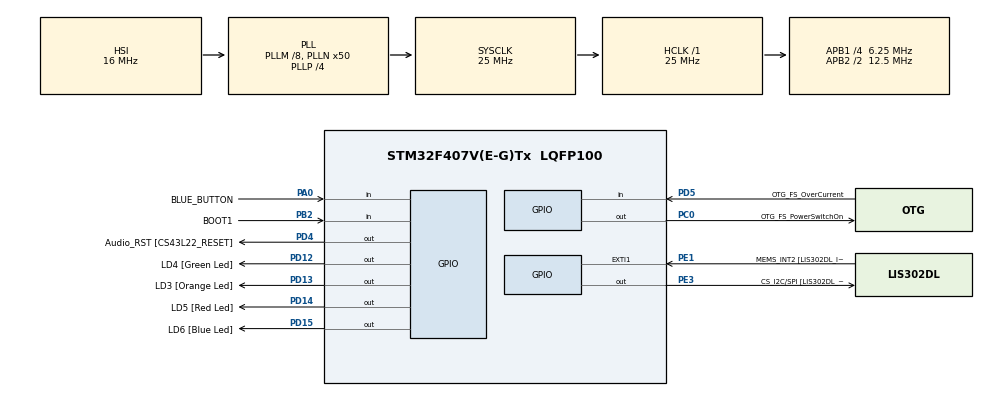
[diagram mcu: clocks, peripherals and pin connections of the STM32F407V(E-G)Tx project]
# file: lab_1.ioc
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Mcu.Family=STM32F4
Mcu.Name=STM32F407V(E-G)Tx
Mcu.Package=LQFP100
NVIC.PriorityGroup=NVIC_PRIORITYGROUP_4
NVIC.TIM7_IRQn=true\:0\:0\:false\:false\:true\:false\:true\:true
NVIC.TimeBase=TIM7_IRQn
NVIC.TimeBaseIP=TIM7
PA0-WKUP.GPIO_Label=BLUE_BUTTON
PA0-WKUP.Signal=GPIO_Input
PA10.GPIO_Label=OTG_FS_ID
PA10.GPIO_Mode=GPIO_MODE_AF_PP
PA10.GPIO_PuPd=GPIO_NOPULL
PA10.GPIO_Speed=GPIO_SPEED_FREQ_LOW
PA10.Signal=USB_OTG_FS_ID
PA11.GPIO_Label=OTG_FS_DM
PA11.GPIO_Mode=GPIO_MODE_AF_PP
PA11.GPIO_PuPd=GPIO_NOPULL
PA11.GPIO_Speed=GPIO_SPEED_FREQ_LOW
PA11.Signal=USB_OTG_FS_DM
PA12.GPIO_Label=OTG_FS_DP
PA12.GPIO_Mode=GPIO_MODE_AF_PP
PA12.GPIO_PuPd=GPIO_NOPULL
PA12.GPIO_Speed=GPIO_SPEED_FREQ_LOW
PA12.Signal=USB_OTG_FS_DP
PA13.GPIO_Label=SWDIO
PA13.Mode=Serial_Wire
PA13.Signal=SYS_JTMS-SWDIO
PA14.GPIO_Label=SWCLK
PA14.Mode=Serial_Wire
PA14.Signal=SYS_JTCK-SWCLK
PA4.GPIO_Label=I2S3_WS [CS43L22_LRCK]
PA4.GPIO_Mode=GPIO_MODE_AF_PP
PA4.GPIO_PuPd=GPIO_NOPULL
PA4.GPIO_Speed=GPIO_SPEED_FREQ_LOW
PA4.Signal=I2S3_WS
PA5.GPIO_Label=SPI1_SCK [LIS302DL_SCL/SPC]
PA5.GPIO_Mode=GPIO_MODE_AF_PP
PA5.GPIO_PuPd=GPIO_NOPULL
PA5.GPIO_Speed=GPIO_SPEED_FREQ_LOW
PA5.Signal=SPI1_SCK
PA6.GPIO_Label=SPI1_MISO [LIS302DL_SDO]
PA6.GPIO_Mode=GPIO_MODE_AF_PP
PA6.GPIO_PuPd=GPIO_NOPULL
PA6.GPIO_Speed=GPIO_SPEED_FREQ_LOW
PA6.Signal=SPI1_MISO
PA7.GPIO_Label=SPI1_MOSI [LIS302DL_SDA/SDI/SDO]
PA7.GPIO_Mode=GPIO_MODE_AF_PP
PA7.GPIO_PuPd=GPIO_NOPULL
PA7.GPIO_Speed=GPIO_SPEED_FREQ_LOW
PA7.Signal=SPI1_MOSI
PA9.GPIO_Label=VBUS_FS
PA9.GPIO_Mode=GPIO_MODE_INPUT
PA9.GPIO_PuPd=GPIO_NOPULL
PA9.Signal=USB_OTG_FS_VBUS
PB10.GPIO_Label=CLK_IN [MP45DT02_CLK]
PB10.GPIO_Mode=GPIO_MODE_AF_PP
PB10.GPIO_PuPd=GPIO_NOPULL
PB10.GPIO_Speed=GPIO_SPEED_FREQ_LOW
PB10.Signal=I2S2_CK
PB2.GPIO_Label=BOOT1
PB2.GPIO_Mode=GPIO_MODE_INPUT
PB2.GPIO_PuPd=GPIO_NOPULL
PB2.Signal=GPIO_Input
PB3.GPIO_Label=SWO
PB3.Signal=SYS_JTDO-SWO
PB6.GPIO_Label=Audio_SCL [CS43L22_SCL]
PB6.GPIO_Mode=GPIO_MODE_AF_OD
PB6.GPIO_PuPd=GPIO_NOPULL
PB6.GPIO_Speed=GPIO_SPEED_FREQ_LOW
PB6.Signal=I2C1_SCL
PB9.GPIO_Label=Audio_SDA [CS43L22_SDA]
PB9.GPIO_Mode=GPIO_MODE_AF_OD
PB9.GPIO_PuPd=GPIO_NOPULL
PB9.GPIO_Speed=GPIO_SPEED_FREQ_LOW
PB9.Signal=I2C1_SDA
PC0.GPIO_Label=OTG_FS_PowerSwitchOn
PC0.GPIO_PuPd=GPIO_NOPULL
PC0.GPIO_Speed=GPIO_SPEED_FREQ_LOW
PC0.PinState=GPIO_PIN_SET
PC0.Signal=GPIO_Output
PC10.GPIO_Label=I2S3_SCK [CS43L22_SCLK]
PC10.GPIO_Mode=GPIO_MODE_AF_PP
PC10.GPIO_PuPd=GPIO_NOPULL
PC10.GPIO_Speed=GPIO_SPEED_FREQ_LOW
PC10.Signal=I2S3_CK
PC12.GPIO_Label=I2S3_SD [CS43L22_SDIN]
PC12.GPIO_Mode=GPIO_MODE_AF_PP
PC12.GPIO_PuPd=GPIO_NOPULL
PC12.GPIO_Speed=GPIO_SPEED_FREQ_LOW
PC12.Signal=I2S3_SD
PC14-OSC32_IN.GPIO_Label=PC14-OSC32_IN
PC14-OSC32_IN.Signal=RCC_OSC32_IN
PC15-OSC32_OUT.GPIO_Label=PC15-OSC32_OUT
PC15-OSC32_OUT.Signal=RCC_OSC32_OUT
PC3.GPIO_Label=PDM_OUT [MP45DT02_DOUT]
PC3.GPIO_Mode=GPIO_MODE_AF_PP
PC3.GPIO_PuPd=GPIO_NOPULL
PC3.GPIO_Speed=GPIO_SPEED_FREQ_LOW
PC3.Signal=I2S2_SD
PC7.GPIO_Label=I2S3_MCK [CS43L22_MCLK]
PC7.GPIO_Mode=GPIO_MODE_AF_PP
PC7.GPIO_PuPd=GPIO_NOPULL
PC7.GPIO_Speed=GPIO_SPEED_FREQ_LOW
PC7.Signal=I2S3_MCK
PD12.GPIO_Label=LD4 [Green Led]
PD12.GPIO_PuPd=GPIO_NOPULL
PD12.GPIO_Speed=GPIO_SPEED_FREQ_LOW
PD12.Signal=GPIO_Output
PD13.GPIO_Label=LD3 [Orange Led]
PD13.GPIO_PuPd=GPIO_NOPULL
PD13.GPIO_Speed=GPIO_SPEED_FREQ_LOW
PD13.Signal=GPIO_Output
PD14.GPIO_Label=LD5 [Red Led]
PD14.GPIO_PuPd=GPIO_NOPULL
PD14.GPIO_Speed=GPIO_SPEED_FREQ_LOW
PD14.Signal=GPIO_Output
PD15.GPIO_Label=LD6 [Blue Led]
PD15.GPIO_PuPd=GPIO_NOPULL
PD15.GPIO_Speed=GPIO_SPEED_FREQ_LOW
PD15.Signal=GPIO_Output
PD4.GPIO_Label=Audio_RST [CS43L22_RESET]
PD4.GPIO_PuPd=GPIO_NOPULL
PD4.GPIO_Speed=GPIO_SPEED_FREQ_LOW
PD4.Signal=GPIO_Output
PD5.GPIO_Label=OTG_FS_OverCurrent
PD5.GPIO_Mode=GPIO_MODE_INPUT
PD5.GPIO_PuPd=GPIO_NOPULL
PD5.Signal=GPIO_Input
PE1.GPIO_Label=MEMS_INT2 [LIS302DL_INT2]
PE1.GPIO_ModeDefaultEXTI=GPIO_MODE_EVT_RISING
PE1.GPIO_PuPd=GPIO_NOPULL
PE1.Signal=GPXTI1
PE3.GPIO_Label=CS_I2C/SPI [LIS302DL_CS_I2C/SPI]
PE3.GPIO_PuPd=GPIO_NOPULL
PE3.GPIO_Speed=GPIO_SPEED_FREQ_LOW
PE3.Signal=GPIO_Output
PH0-OSC_IN.GPIO_Label=PH0-OSC_IN
PH0-OSC_IN.Signal=RCC_OSC_IN
PH1-OSC_OUT.GPIO_Label=PH1-OSC_OUT
PH1-OSC_OUT.Signal=RCC_OSC_OUT
ProjectManager.HeapSize=0x200
ProjectManager.StackSize=0x400
ProjectManager.TargetToolchain=STM32CubeIDE
RCC.48MHZClocksFreq_Value=14285714.285714285
RCC.AHBFreq_Value=25000000
RCC.APB1CLKDivider=RCC_HCLK_DIV4
RCC.APB1Freq_Value=6250000
RCC.APB1TimFreq_Value=12500000
RCC.APB2CLKDivider=RCC_HCLK_DIV2
RCC.APB2Freq_Value=12500000
RCC.APB2TimFreq_Value=25000000
RCC.CortexFreq_Value=25000000
RCC.HCLKFreq_Value=25000000
RCC.HSE_VALUE=8000000
RCC.HSI_VALUE=16000000
RCC.LSE_VALUE=32768
RCC.PLLM=8
RCC.PLLN=50
RCC.PLLP=RCC_PLLP_DIV4
RCC.PLLQ=7
RCC.SYSCLKFreq_VALUE=25000000
RCC.SYSCLKSource=RCC_SYSCLKSOURCE_PLLCLK
RCC.VCOOutputFreq_Value=100000000
VP_SYS_VS_tim7.Mode=TIM7
board=STM32F407G-DISC1

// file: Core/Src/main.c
/* USER CODE BEGIN Header */
/**
  ******************************************************************************
  * @file           : main.c
  * @brief          : Main program body
  ******************************************************************************
  * @attention
  *
  * Copyright (c) 2026 STMicroelectronics.
  * All rights reserved.
  *
  * This software is licensed under terms that can be found in the LICENSE file
  * in the root directory of this software component.
  * If no LICENSE file comes with this software, it is provided AS-IS.
  *
  ******************************************************************************
  */
/* USER CODE END Header */
#include "main.h"

/* USER CODE BEGIN Includes */
#include "FreeRTOS.h"
#include "task.h"
#include "queue.h"
/* USER CODE END Includes */

/* USER CODE BEGIN PTD */
typedef enum {
    STATE_S1,
    STATE_S2
} LED_State_t;
/* USER CODE END PTD */

/* USER CODE BEGIN PV */
TaskHandle_t xLEDTaskHandle = NULL;
TaskHandle_t xButtonTaskHandle = NULL;
xQueueHandle xStateQueue = NULL;
/* USER CODE END PV */

void SystemClock_Config(void);
static void MX_GPIO_Init(void);
/* USER CODE BEGIN PFP */
void vLEDTask(void *pvParameters);
void vButtonTask(void *pvParameters);
/* USER CODE END PFP */

int main(void)
{

  /* MCU Configuration--------------------------------------------------------*/

  /* Reset of all peripherals, Initializes the Flash interface and the Systick. */
  HAL_Init();

  /* Configure the system clock */
  SystemClock_Config();

  /* Initialize all configured peripherals */
  MX_GPIO_Init();
  /* USER CODE BEGIN 2 */
  // Queue of size 1 to maintain state switching
  xStateQueue = xQueueCreate(1, sizeof(uint8_t));

  // LED Task, Button Task
  // pvTaskCode, pcName, uxStackDepth, pvParameters, uxPriority, pxCreatedTask
  xTaskCreate(vLEDTask, "LED Task", 128, NULL, 1, &xLEDTaskHandle);
  xTaskCreate(vButtonTask, "Button Task", 128, NULL, 2, &xButtonTaskHandle); // Higher priority

  vTaskStartScheduler();
  /* USER CODE END 2 */

  /* Infinite loop */
  while (1)
  {

  }
}

void SystemClock_Config(void)
{
  RCC_OscInitTypeDef RCC_OscInitStruct = {0};
  RCC_ClkInitTypeDef RCC_ClkInitStruct = {0};

  /** Configure the main internal regulator output voltage
  */
  __HAL_RCC_PWR_CLK_ENABLE();
  __HAL_PWR_VOLTAGESCALING_CONFIG(PWR_REGULATOR_VOLTAGE_SCALE1);

  /** Initializes the RCC Oscillators according to the specified parameters
  * in the RCC_OscInitTypeDef structure.
  */
  RCC_OscInitStruct.OscillatorType = RCC_OSCILLATORTYPE_HSI;
  RCC_OscInitStruct.HSIState = RCC_HSI_ON;
  RCC_OscInitStruct.HSICalibrationValue = RCC_HSICALIBRATION_DEFAULT;
  RCC_OscInitStruct.PLL.PLLState = RCC_PLL_ON;
  RCC_OscInitStruct.PLL.PLLSource = RCC_PLLSOURCE_HSI;
  RCC_OscInitStruct.PLL.PLLM = 8;
  RCC_OscInitStruct.PLL.PLLN = 50;
  RCC_OscInitStruct.PLL.PLLP = RCC_PLLP_DIV4;
  RCC_OscInitStruct.PLL.PLLQ = 7;
  if (HAL_RCC_OscConfig(&RCC_OscInitStruct) != HAL_OK)
  {
    Error_Handler();
  }

  /** Initializes the CPU, AHB and APB buses clocks
  */
  RCC_ClkInitStruct.ClockType = RCC_CLOCKTYPE_HCLK|RCC_CLOCKTYPE_SYSCLK
                              |RCC_CLOCKTYPE_PCLK1|RCC_CLOCKTYPE_PCLK2;
  RCC_ClkInitStruct.SYSCLKSource = RCC_SYSCLKSOURCE_PLLCLK;
  RCC_ClkInitStruct.AHBCLKDivider = RCC_SYSCLK_DIV1;
  RCC_ClkInitStruct.APB1CLKDivider = RCC_HCLK_DIV4;
  RCC_ClkInitStruct.APB2CLKDivider = RCC_HCLK_DIV2;

  if (HAL_RCC_ClockConfig(&RCC_ClkInitStruct, FLASH_LATENCY_0) != HAL_OK)
  {
    Error_Handler();
  }
}

static void MX_GPIO_Init(void)
{
  GPIO_InitTypeDef GPIO_InitStruct = {0};

  /* GPIO Ports Clock Enable */
  __HAL_RCC_GPIOE_CLK_ENABLE();
  __HAL_RCC_GPIOC_CLK_ENABLE();
  __HAL_RCC_GPIOH_CLK_ENABLE();
  __HAL_RCC_GPIOA_CLK_ENABLE();
  __HAL_RCC_GPIOB_CLK_ENABLE();
  __HAL_RCC_GPIOD_CLK_ENABLE();

  /*Configure GPIO pin Output Level */
  HAL_GPIO_WritePin(CS_I2C_SPI_GPIO_Port, CS_I2C_SPI_Pin, GPIO_PIN_RESET);

  /*Configure GPIO pin Output Level */
  HAL_GPIO_WritePin(OTG_FS_PowerSwitchOn_GPIO_Port, OTG_FS_PowerSwitchOn_Pin, GPIO_PIN_SET);

  /*Configure GPIO pin Output Level */
  HAL_GPIO_WritePin(GPIOD, LD4_Pin|LD3_Pin|LD5_Pin|LD6_Pin
                          |Audio_RST_Pin, GPIO_PIN_RESET);

  /*Configure GPIO pin : CS_I2C_SPI_Pin */
  GPIO_InitStruct.Pin = CS_I2C_SPI_Pin;
  GPIO_InitStruct.Mode = GPIO_MODE_OUTPUT_PP;
  GPIO_InitStruct.Pull = GPIO_NOPULL;
  GPIO_InitStruct.Speed = GPIO_SPEED_FREQ_LOW;
  HAL_GPIO_Init(CS_I2C_SPI_GPIO_Port, &GPIO_InitStruct);

  /*Configure GPIO pin : OTG_FS_PowerSwitchOn_Pin */
  GPIO_InitStruct.Pin = OTG_FS_PowerSwitchOn_Pin;
  GPIO_InitStruct.Mode = GPIO_MODE_OUTPUT_PP;
  GPIO_InitStruct.Pull = GPIO_NOPULL;
  GPIO_InitStruct.Speed = GPIO_SPEED_FREQ_LOW;
  HAL_GPIO_Init(OTG_FS_PowerSwitchOn_GPIO_Port, &GPIO_InitStruct);

  /*Configure GPIO pin : PDM_OUT_Pin */
  GPIO_InitStruct.Pin = PDM_OUT_Pin;
  GPIO_InitStruct.Mode = GPIO_MODE_AF_PP;
  GPIO_InitStruct.Pull = GPIO_NOPULL;
  GPIO_InitStruct.Speed = GPIO_SPEED_FREQ_LOW;
  GPIO_InitStruct.Alternate = GPIO_AF5_SPI2;
  HAL_GPIO_Init(PDM_OUT_GPIO_Port, &GPIO_InitStruct);

  /*Configure GPIO pin : BLUE_BUTTON_Pin */
  GPIO_InitStruct.Pin = BLUE_BUTTON_Pin;
  GPIO_InitStruct.Mode = GPIO_MODE_INPUT;
  GPIO_InitStruct.Pull = GPIO_NOPULL;
  HAL_GPIO_Init(BLUE_BUTTON_GPIO_Port, &GPIO_InitStruct);

  /*Configure GPIO pin : I2S3_WS_Pin */
  GPIO_InitStruct.Pin = I2S3_WS_Pin;
  GPIO_InitStruct.Mode = GPIO_MODE_AF_PP;
  GPIO_InitStruct.Pull = GPIO_NOPULL;
  GPIO_InitStruct.Speed = GPIO_SPEED_FREQ_LOW;
  GPIO_InitStruct.Alternate = GPIO_AF6_SPI3;
  HAL_GPIO_Init(I2S3_WS_GPIO_Port, &GPIO_InitStruct);

  /*Configure GPIO pins : SPI1_SCK_Pin SPI1_MISO_Pin SPI1_MOSI_Pin */
  GPIO_InitStruct.Pin = SPI1_SCK_Pin|SPI1_MISO_Pin|SPI1_MOSI_Pin;
  GPIO_InitStruct.Mode = GPIO_MODE_AF_PP;
  GPIO_InitStruct.Pull = GPIO_NOPULL;
  GPIO_InitStruct.Speed = GPIO_SPEED_FREQ_LOW;
  GPIO_InitStruct.Alternate = GPIO_AF5_SPI1;
  HAL_GPIO_Init(GPIOA, &GPIO_InitStruct);

  /*Configure GPIO pin : BOOT1_Pin */
  GPIO_InitStruct.Pin = BOOT1_Pin;
  GPIO_InitStruct.Mode = GPIO_MODE_INPUT;
  GPIO_InitStruct.Pull = GPIO_NOPULL;
  HAL_GPIO_Init(BOOT1_GPIO_Port, &GPIO_InitStruct);

  /*Configure GPIO pin : CLK_IN_Pin */
  GPIO_InitStruct.Pin = CLK_IN_Pin;
  GPIO_InitStruct.Mode = GPIO_MODE_AF_PP;
  GPIO_InitStruct.Pull = GPIO_NOPULL;
  GPIO_InitStruct.Speed = GPIO_SPEED_FREQ_LOW;
  GPIO_InitStruct.Alternate = GPIO_AF5_SPI2;
  HAL_GPIO_Init(CLK_IN_GPIO_Port, &GPIO_InitStruct);

  /*Configure GPIO pins : LD4_Pin LD3_Pin LD5_Pin LD6_Pin
                           Audio_RST_Pin */
  GPIO_InitStruct.Pin = LD4_Pin|LD3_Pin|LD5_Pin|LD6_Pin
                          |Audio_RST_Pin;
  GPIO_InitStruct.Mode = GPIO_MODE_OUTPUT_PP;
  GPIO_InitStruct.Pull = GPIO_NOPULL;
  GPIO_InitStruct.Speed = GPIO_SPEED_FREQ_LOW;
  HAL_GPIO_Init(GPIOD, &GPIO_InitStruct);

  /*Configure GPIO pins : I2S3_MCK_Pin I2S3_SCK_Pin I2S3_SD_Pin */
  GPIO_InitStruct.Pin = I2S3_MCK_Pin|I2S3_SCK_Pin|I2S3_SD_Pin;
  GPIO_InitStruct.Mode = GPIO_MODE_AF_PP;
  GPIO_InitStruct.Pull = GPIO_NOPULL;
  GPIO_InitStruct.Speed = GPIO_SPEED_FREQ_LOW;
  GPIO_InitStruct.Alternate = GPIO_AF6_SPI3;
  HAL_GPIO_Init(GPIOC, &GPIO_InitStruct);

  /*Configure GPIO pin : VBUS_FS_Pin */
  GPIO_InitStruct.Pin = VBUS_FS_Pin;
  GPIO_InitStruct.Mode = GPIO_MODE_INPUT;
  GPIO_InitStruct.Pull = GPIO_NOPULL;
  HAL_GPIO_Init(VBUS_FS_GPIO_Port, &GPIO_InitStruct);

  /*Configure GPIO pins : OTG_FS_ID_Pin OTG_FS_DM_Pin OTG_FS_DP_Pin */
  GPIO_InitStruct.Pin = OTG_FS_ID_Pin|OTG_FS_DM_Pin|OTG_FS_DP_Pin;
  GPIO_InitStruct.Mode = GPIO_MODE_AF_PP;
  GPIO_InitStruct.Pull = GPIO_NOPULL;
  GPIO_InitStruct.Speed = GPIO_SPEED_FREQ_LOW;
  GPIO_InitStruct.Alternate = GPIO_AF10_OTG_FS;
  HAL_GPIO_Init(GPIOA, &GPIO_InitStruct);

  /*Configure GPIO pin : OTG_FS_OverCurrent_Pin */
  GPIO_InitStruct.Pin = OTG_FS_OverCurrent_Pin;
  GPIO_InitStruct.Mode = GPIO_MODE_INPUT;
  GPIO_InitStruct.Pull = GPIO_NOPULL;
  HAL_GPIO_Init(OTG_FS_OverCurrent_GPIO_Port, &GPIO_InitStruct);

  /*Configure GPIO pins : Audio_SCL_Pin Audio_SDA_Pin */
  GPIO_InitStruct.Pin = Audio_SCL_Pin|Audio_SDA_Pin;
  GPIO_InitStruct.Mode = GPIO_MODE_AF_OD;
  GPIO_InitStruct.Pull = GPIO_NOPULL;
  GPIO_InitStruct.Speed = GPIO_SPEED_FREQ_LOW;
  GPIO_InitStruct.Alternate = GPIO_AF4_I2C1;
  HAL_GPIO_Init(GPIOB, &GPIO_InitStruct);

  /*Configure GPIO pin : MEMS_INT2_Pin */
  GPIO_InitStruct.Pin = MEMS_INT2_Pin;
  GPIO_InitStruct.Mode = GPIO_MODE_EVT_RISING;
  GPIO_InitStruct.Pull = GPIO_NOPULL;
  HAL_GPIO_Init(MEMS_INT2_GPIO_Port, &GPIO_InitStruct);

}

/* USER CODE BEGIN 4 */
void vLEDTask(void *pvParameters) {
    LED_State_t currentState = STATE_S1;
    uint8_t rxBuffer;

    for(;;) {
        // S1: Red(1s) -> Orange(1s) -> Green(1s) looping
        if (currentState == STATE_S1) {
            // Light up Red LED
            HAL_GPIO_WritePin(GPIOD, GPIO_PIN_14, GPIO_PIN_SET);
            // Wait a second to see if the button is pressed
            if (xQueueReceive(xStateQueue, &rxBuffer, pdMS_TO_TICKS(1000)) == pdPASS) {
                currentState = STATE_S2;
                HAL_GPIO_WritePin(GPIOD, GPIO_PIN_14, GPIO_PIN_RESET);
                continue;
            }
            HAL_GPIO_WritePin(GPIOD, GPIO_PIN_14, GPIO_PIN_RESET);

            // Light up Orange LED
            HAL_GPIO_WritePin(GPIOD, GPIO_PIN_13, GPIO_PIN_SET);
            if (xQueueReceive(xStateQueue, &rxBuffer, pdMS_TO_TICKS(1000)) == pdPASS) {
                currentState = STATE_S2;
                HAL_GPIO_WritePin(GPIOD, GPIO_PIN_13, GPIO_PIN_RESET);
                continue;
            }
            HAL_GPIO_WritePin(GPIOD, GPIO_PIN_13, GPIO_PIN_RESET);

            // Light up Green LED
            HAL_GPIO_WritePin(GPIOD, GPIO_PIN_12, GPIO_PIN_SET);
            if (xQueueReceive(xStateQueue, &rxBuffer, pdMS_TO_TICKS(1000)) == pdPASS) {
                currentState = STATE_S2;
                HAL_GPIO_WritePin(GPIOD, GPIO_PIN_12, GPIO_PIN_RESET);
                continue;
            }
            HAL_GPIO_WritePin(GPIOD, GPIO_PIN_12, GPIO_PIN_RESET);
        }
        // S2: Orange LED blinking every 0.5 second
        else if (currentState == STATE_S2) {
            HAL_GPIO_TogglePin(GPIOD, GPIO_PIN_13);
            // Wait 0.5 second to see if button is pressed
            if (xQueueReceive(xStateQueue, &rxBuffer, pdMS_TO_TICKS(500)) == pdPASS) {
                currentState = STATE_S1;
                HAL_GPIO_WritePin(GPIOD, GPIO_PIN_13, GPIO_PIN_RESET); // Make sure Orange LED is turned off when exiting S2
            }
        }
    }
}

void vButtonTask(void *pvParameters) {
    uint32_t pressTime;
    uint8_t toggleSignal = 1;
    uint8_t isSuspended = 0;
    uint8_t longPressTriggered = 0;

    for(;;) {

        if (HAL_GPIO_ReadPin(GPIOA, GPIO_PIN_0) == GPIO_PIN_SET) {
            vTaskDelay(pdMS_TO_TICKS(20)); // Debounce

            if (HAL_GPIO_ReadPin(GPIOA, GPIO_PIN_0) == GPIO_PIN_SET) {
                pressTime = 0;
                longPressTriggered = 0;

                while (HAL_GPIO_ReadPin(GPIOA, GPIO_PIN_0) == GPIO_PIN_SET) {
                    vTaskDelay(pdMS_TO_TICKS(10));
                    pressTime += 10;

                    if (pressTime >= 1000 && longPressTriggered == 0) {
                        longPressTriggered = 1;

                        // Long press: Suspend/Resume LED Task
                        if (isSuspended == 0) {
                            vTaskSuspend(xLEDTaskHandle);

                            HAL_GPIO_WritePin(GPIOD, GPIO_PIN_13 | GPIO_PIN_12, GPIO_PIN_RESET);
                            HAL_GPIO_WritePin(GPIOD, GPIO_PIN_14, GPIO_PIN_SET);

                            isSuspended = 1;
                        } else {
                            vTaskResume(xLEDTaskHandle);
                            HAL_GPIO_WritePin(GPIOD, GPIO_PIN_14, GPIO_PIN_RESET);
                            isSuspended = 0;
                        }
                    }
                }

                // Button released
                // If not long press, then it's short
                if (longPressTriggered == 0) {
                    // If LED Task is suspended, short press won't work
                    if (isSuspended == 0) {
                        xQueueSend(xStateQueue, &toggleSignal, 0); // Send short press signal
                    }
                }
            }
        }

        vTaskDelay(pdMS_TO_TICKS(10));
    }
}
/* USER CODE END 4 */

void HAL_TIM_PeriodElapsedCallback(TIM_HandleTypeDef *htim)
{
  if (htim->Instance == TIM7) {
    HAL_IncTick();
  }
}

void Error_Handler(void)
{
  __disable_irq();
  while (1)
  {
  }
}
